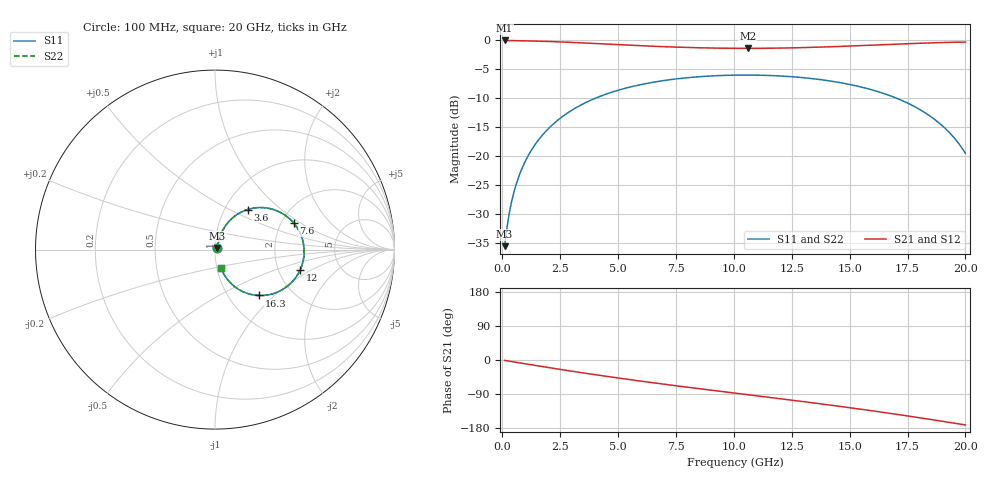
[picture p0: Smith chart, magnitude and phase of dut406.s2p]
! Touchstone file exported from HFSS 2026.1.0
!  File:  C:/ffzhzh/LocalFiles/Ansys_Project_Files/temp_train_TSV_RDL_406_1783093106_50312.aedt
!  Generated:  11:48:44 PM Jul  3, 2026
!  Design:  TSV_RDL
!  Project:  temp_train_TSV_RDL_406_1783093106_50312
! Variables:
!  h_bsmrdl = 3.75um
!  h_ox = 20um
!  h_rdl = 5um
!  h_sub = 61.77um
!  h_tmrdl = 3.75um
!  h_tsv = 61.77um
!  h_via = 3um
!  l_bsmrdl = 291.31um
!  l_sub = 2984.45um
!  l_tmrdl = 396.55um
!  m_sub = 200um
!  pitch = 47.62um
!  r_tsv = 8.68um
!  s_tmrdl = 10um
!  w_bsmrdl = 12.23um
!  w_sub = 500um
!  w_tmrdl = 29.21um
!  x_tsv_center1 = 411.155um
!  x_tsv_center2 = 714.695um
!  x_tsv_center3 = 1140.455um
!  x_tsv_center4 = 1443.995um
!  x_tsv_center5 = 1869.755um
!  x_tsv_center6 = 2173.295um
# GHz S MA R 50.000000
! Terminal data exported
! Port[1] = TM_RDL1_1_T1
! Port[2] = TM_RDL5_1_T1
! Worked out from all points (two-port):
!   200 points, 100 MHz to 20 GHz, reference 50 ohm
!   highest |S21| = -0.12 dB at 100 MHz (marker M1); lowest = -1.5 dB at 10.6 GHz (marker M2)
!   |S21| within 3 dB of the highest: start of sweep to end of sweep
!   lowest |S11| = -35.5 dB at 100 MHz (marker M3), VSWR 1.03, Z = 51.4 + j0.983 ohm
!   |S11| at or under -10 dB: start of sweep to 4.06 GHz; 16.99 GHz to end of sweep
!   |S22| runs from -35.5 to -6.1 dB; largest |S21 - S12| = 3.1e-13
!   S11 on the Smith chart (normalised r, x): 100 MHz: 1.03, +0.02; 3.6 GHz: 1.27, +0.62; 7.6 GHz: 2.32, +0.88; 12 GHz: 2.64, -0.78; 16.3 GHz: 1.38, -0.80; 20 GHz: 1.05, -0.21
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0.1  0.01672 34.9  0.9864 -1.1  0.9864 -1.1  0.01672 34.9
! Gamma 0 0 0 0
! Port Impedance 50 0 50 0
0.3  0.03205 59.4  0.9849 -3.1  0.9849 -3.1  0.03205 59.4
0.5  0.04866 65.9  0.9831 -5.2  0.9831 -5.2  0.04866 65.9
0.8  0.07376 68.8  0.9805 -8.2  0.9805 -8.2  0.07376 68.8
1.1  0.0989 68.9  0.9778 -11.2  0.9778 -11.2  0.0989 68.9
1.6  0.1403 66.6  0.9721 -16.1  0.9721 -16.1  0.1403 66.6
2.1  0.1803 63.2  0.965 -21.0  0.965 -21.0  0.1803 63.2
3.5  0.2813 51.7  0.9394 -34.2  0.9394 -34.2  0.2813 51.7
3.6  0.2877 50.9  0.9373 -35.1  0.9373 -35.1  0.2877 50.9
5.1  0.3724 38.4  0.9061 -48.3  0.9061 -48.3  0.3724 38.4
6.8  0.4403 24.9  0.8747 -62.4  0.8747 -62.4  0.4403 24.9
7.6  0.4626 18.8  0.8632 -68.7  0.8632 -68.7  0.4626 18.8
10.1  0.4964 0.4  0.8441 -87.7  0.8441 -87.7  0.4964 0.4
10.6  0.497 -3.2  0.8436 -91.5  0.8436 -91.5  0.497 -3.2
12  0.488 -13.4  0.848 -102.1  0.848 -102.1  0.488 -13.4
13.4  0.4627 -23.8  0.8606 -112.9  0.8606 -112.9  0.4627 -23.8
16.3  0.3539 -46.3  0.9049 -136.9  0.9049 -136.9  0.3539 -46.3
16.7  0.3326 -49.5  0.9118 -140.4  0.9118 -140.4  0.3326 -49.5
17.8  0.2662 -58.3  0.9302 -150.3  0.9302 -150.3  0.2662 -58.3
18.7  0.2041 -65.1  0.9431 -158.8  0.9431 -158.8  0.2041 -65.2
19.4  0.1519 -69.6  0.9508 -165.5  0.9508 -165.5  0.1519 -69.7
20  0.1053 -71.6  0.9555 -171.3  0.9555 -171.3  0.1052 -71.8
